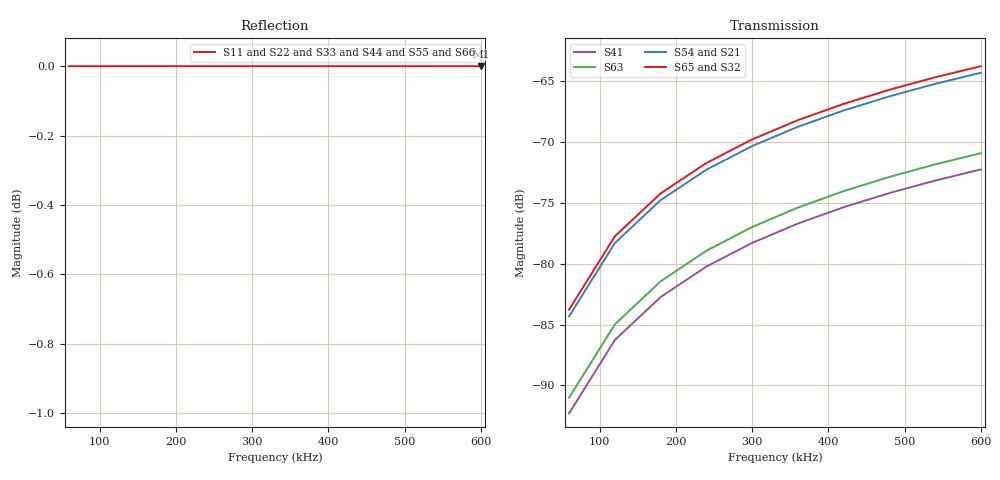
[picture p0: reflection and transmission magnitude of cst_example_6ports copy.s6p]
! TOUCHSTONE file generated by CST MICROWAVE STUDIO
! Date and time: Mon Jul 31 14:49:02 2017
! Project name: NCC-1701.cst
! Parameters = {FW_Rcenter=7864; FW_Zcenter=610.6; FW_height=1100; FW_incl_angle=2.98905; FW_incl_angle_rad=0.0521687; FW_thickness=43.026; LCFS_Rcenter=8199;  toroidal_opening_angle=0.150864; vertical_septa_correction=9.52041; vertical_septa_correction_out=9.52041; vertical_septum_maximum_process=1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
! Header version: 2015
! Port assignment regex: !\s*Touchstone port\s*([0-9]+)\s*=\s*CST MWS port\s*([0-9]+)\s*\(\"(.*)\"\)(\s*mode\s*([0-9]+))?.*
! Touchstone port assignment:
! Touchstone port 1 = CST MWS port 1 ("")
! Touchstone port 2 = CST MWS port 2 ("")
! Touchstone port 3 = CST MWS port 3 ("")
! Touchstone port 4 = CST MWS port 4 ("")
! Touchstone port 5 = CST MWS port 5 ("")
! Touchstone port 6 = CST MWS port 6 ("")
# MHz S MA R 50
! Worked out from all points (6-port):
!   10 points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, 60 kHz to 600 kHz, reference 50 ohm
!   strongest paths, dB at 60 kHz, 180 kHz, 360 kHz, 480 kHz, 600 kHz:
!     S65: -83.8, -74.2, -68.2, -65.7, -63.8
!     S32: -84.0, -74.5, -68.5, -66.0, -64.0
!     S54: -84.3, -74.8, -68.8, -66.3, -64.3
!     S21: -84.5, -74.9, -68.9, -66.4, -64.5
!     S63: -91.0, -81.5, -75.4, -72.9, -70.9
!     S41: -92.3, -82.7, -76.7, -74.2, -72.3
!   lowest |S11| = 0.0 dB at 600 kHz (marker M1)
!   |S11| at or under -10 dB: nowhere
